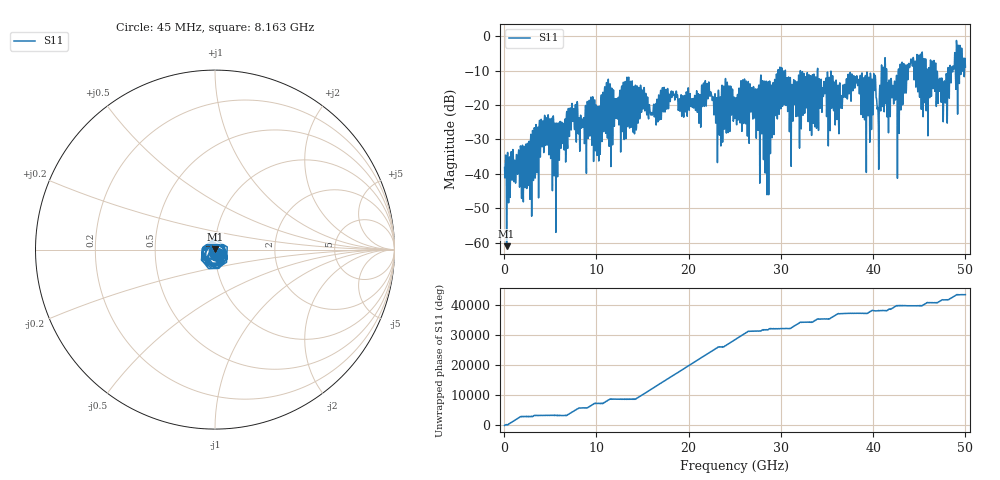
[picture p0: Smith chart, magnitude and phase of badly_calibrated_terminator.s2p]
!Agilent Technologies,E8364A,US41440322,A.04.87.01
!Agilent E8364A: A.04.87.01
!Date: Tuesday, July 09, 2024 14:24:22
!Correction: S11(Open Response,1) S21(Off) S12(Off) S22(Off)
!S2P File: Measurements: S11, S21, S12, S22:
# Hz S  dB  R 50
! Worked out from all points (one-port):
!   1601 points, 45 MHz to 50 GHz, reference 50 ohm
!   lowest |S11| = -61.0 dB at 263.6 MHz (marker M1), VSWR 1.00, Z = 50 + j0.0886 ohm
!   |S11| at or under -10 dB: start of sweep to 29.7 GHz; 30.49 GHz to 33.96 GHz (3.471 GHz wide, 10.8 % of centre); 33.99 GHz to 40.89 GHz (6.906 GHz wide, 18.4 % of centre)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
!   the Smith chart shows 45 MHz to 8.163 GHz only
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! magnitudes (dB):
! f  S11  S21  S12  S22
! 45 MHz  -38.2  -  -  -
! 263.6 MHz  -61.0  -  -  -
! 4.572 GHz  -23.7  -  -  -
! 5.759 GHz  -33.6  -  -  -
! 7.164 GHz  -20.9  -  -  -
! 8.381 GHz  -26.7  -  -  -
! 11.1 GHz  -13.5  -  -  -
! 16.72 GHz  -19.2  -  -  -
! 22.03 GHz  -15.0  -  -  -
! 25.02 GHz  -23.9  -  -  -
! 28.71 GHz  -20.3  -  -  -
! 30.08 GHz  -9.2  -  -  -
! 33.36 GHz  -17.4  -  -  -
! 36.32 GHz  -18.7  -  -  -
! 38.1 GHz  -12.4  -  -  -
! 40.1 GHz  -11.7  -  -  -
! 40.57 GHz  -26.4  -  -  -
! 41.1 GHz  -9.0  -  -  -
! 41.69 GHz  -15.7  -  -  -
! 44.13 GHz  -6.8  -  -  -
! 47.6 GHz  -24.9  -  -  -
! 50 GHz  -9.0  -  -  -
